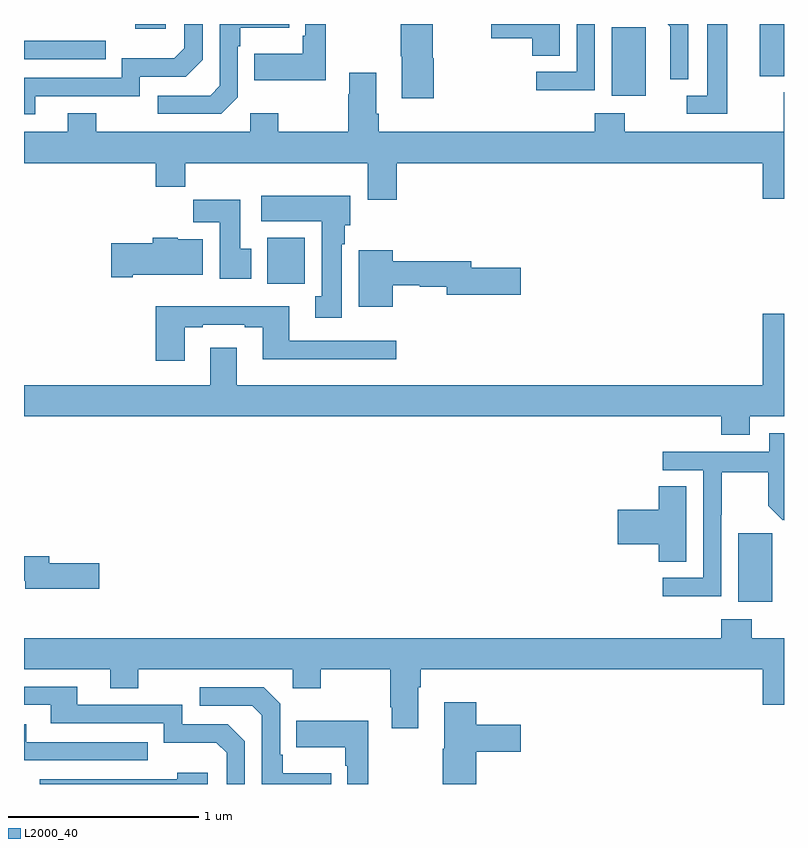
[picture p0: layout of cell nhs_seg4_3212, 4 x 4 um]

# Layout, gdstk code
import gdstk
lib = gdstk.Library(unit=1e-6, precision=1e-09)
def R(c, l, rs):  # rectangles x0, y0, x1, y1
    for r in rs: c.add(gdstk.rectangle(r[:2], r[2:], *l))
def P(c, l, *ps):  # polygons
    for p in ps: c.add(gdstk.Polygon(p, *l))
L2000_40 = (2000, 40)

nhs_seg4_3212 = lib.new_cell('nhs_seg4_3212')
R(nhs_seg4_3212, L2000_40, [(284.759,779.858,284.938,780.219), (282.281,781.532,282.478,781.774), (284.093,782.522,284.272,782.883), (284.873,782.625,285,782.9), (281,782.715,281.429,782.811), (281.585,782.876,281.746,782.9)])
P(nhs_seg4_3212, L2000_40, [(282.126,782.514),(282.126,782.783),(282.139,782.783),(282.139,782.879),(282.395,782.879),(282.395,782.9),(282.03,782.9),(282.03,782.574),(281.979,782.523),(281.703,782.523),(281.703,782.427),(282.039,782.427)],
  [(281.059,782.52),(281.61,782.52),(281.61,782.622),(281.85,782.622),(281.94,782.712),(281.94,782.9),(281.844,782.9),(281.844,782.772),(281.791,782.719),(281.514,782.719),(281.514,782.616),(281,782.616),(281,782.424),(281.059,782.424)],
  [(282.589,782.9),(282.48,782.9),(282.48,782.839),(282.468,782.839),(282.468,782.743),(282.211,782.743),(282.211,782.603),(282.589,782.603)],
  [(284.496,782.9),(284.387,782.9),(284.402,782.885),(284.402,782.762),(284.4,782.762),(284.4,782.608),(284.496,782.608)],
  [(284.004,782.9),(283.908,782.9),(283.908,782.649),(283.695,782.649),(283.695,782.551),(284.004,782.551)],
  [(283.157,782.72),(283.152,782.72),(283.152,782.9),(282.982,782.9),(282.982,782.731),(282.989,782.731),(282.989,782.508),(283.157,782.508)],
  [(283.819,782.9),(283.458,782.9),(283.458,782.825),(283.676,782.825),(283.676,782.734),(283.819,782.734)],
  [(284.701,782.9),(284.597,782.9),(284.597,782.523),(284.487,782.523),(284.487,782.427),(284.701,782.427)],
  [(282.962,782.168),(284.888,782.168),(284.888,781.98),(285,781.98),(285,782.54),(284.999,782.54),(284.999,782.332),(284.163,782.332),(284.163,782.431),(284.003,782.431),(284.003,782.332),(282.866,782.332),(282.866,782.428),(282.853,782.428),(282.853,782.644),(282.713,782.644),(282.713,782.531),(282.706,782.531),(282.706,782.332),(282.339,782.332),(282.339,782.431),(282.192,782.431),(282.192,782.332),(281.379,782.332),(281.379,782.431),(281.231,782.431),(281.231,782.332),(281,782.332),(281,782.168),(281.693,782.168),(281.693,782.044),(281.849,782.044),(281.849,782.168),(282.809,782.168),(282.809,781.974),(282.962,781.974)],
  [(282.673,781.742),(282.688,781.742),(282.688,781.842),(282.718,781.842),(282.718,781.996),(282.249,781.996),(282.249,781.862),(282.566,781.862),(282.566,781.466),(282.533,781.466),(282.533,781.353),(282.673,781.353)],
  [(282.196,781.716),(282.139,781.716),(282.139,781.975),(281.89,781.975),(281.89,781.856),(282.029,781.856),(282.029,781.56),(282.196,781.56)],
  [(281.572,781.58),(281.941,781.58),(281.941,781.768),(281.808,781.768),(281.808,781.774),(281.678,781.774),(281.678,781.746),(281.46,781.746),(281.46,781.568),(281.572,781.568)],
  [(282.94,781.524),(283.083,781.524),(283.083,781.516),(283.226,781.516),(283.226,781.474),(283.615,781.474),(283.615,781.616),(283.354,781.616),(283.354,781.652),(282.94,781.652),(282.94,781.708),(282.761,781.708),(282.761,781.412),(282.94,781.412)],
  [(281.845,781.305),(281.941,781.305),(281.941,781.317),(282.161,781.317),(282.161,781.305),(282.257,781.305),(282.257,781.136),(282.958,781.136),(282.958,781.233),(282.397,781.233),(282.397,781.414),(281.693,781.414),(281.693,781.128),(281.845,781.128)],
  [(284.821,780.836),(285,780.836),(285,781.375),(284.888,781.375),(284.888,781),(282.121,781),(282.121,781.195),(281.981,781.195),(281.981,781),(281,781),(281,780.836),(284.669,780.836),(284.669,780.737),(284.821,780.737)],
  [(284.67,780.316),(284.673,780.316),(284.673,780.54),(284.917,780.54),(284.917,780.365),(284.994,780.288),(284.997,780.291),(285,780.288),(285,780.745),(284.922,780.745),(284.922,780.648),(284.361,780.648),(284.361,780.552),(284.574,780.552),(284.574,779.985),(284.361,779.985),(284.361,779.887),(284.67,779.887)],
  [(284.485,780.467),(284.342,780.467),(284.342,780.344),(284.124,780.344),(284.124,780.161),(284.342,780.161),(284.342,780.07),(284.485,780.07)],
  [(281.395,780.062),(281.134,780.062),(281.134,780.098),(281,780.098),(281,779.97),(281.006,779.97),(281.006,779.927),(281.395,779.927)],
  [(283.075,779.408),(283.088,779.408),(283.088,779.504),(284.888,779.504),(284.888,779.316),(285,779.316),(285,779.668),(284.829,779.668),(284.829,779.767),(284.669,779.767),(284.669,779.668),(281,779.668),(281,779.504),(281.453,779.504),(281.453,779.405),(281.601,779.405),(281.601,779.504),(282.414,779.504),(282.414,779.405),(282.561,779.405),(282.561,779.504),(282.928,779.504),(282.928,779.305),(282.935,779.305),(282.935,779.193),(283.075,779.193)],
  [(282.162,779.124),(282.072,779.214),(281.832,779.214),(281.832,779.316),(281.281,779.316),(281.281,779.412),(281,779.412),(281,779.316),(281.141,779.316),(281.141,779.22),(281.736,779.22),(281.736,779.117),(282.013,779.117),(282.066,779.064),(282.066,778.9),(282.162,778.9)],
  [(282.617,778.957),(282.361,778.957),(282.361,779.053),(282.348,779.053),(282.348,779.322),(282.261,779.409),(281.925,779.409),(281.925,779.313),(282.201,779.313),(282.252,779.262),(282.252,778.9),(282.617,778.9)],
  [(283.379,779.069),(283.615,779.069),(283.615,779.211),(283.379,779.211),(283.379,779.329),(283.211,779.329),(283.211,779.085),(283.204,779.085),(283.204,778.9),(283.379,778.9)],
  [(282.811,779.233),(282.433,779.233),(282.433,779.093),(282.69,779.093),(282.69,778.997),(282.702,778.997),(282.702,778.9),(282.811,778.9)],
  [(281.651,779.121),(281.011,779.121),(281.011,779.215),(281,779.215),(281,779.025),(281.651,779.025)],
  [(281.968,778.96),(281.807,778.96),(281.807,778.926),(281.082,778.926),(281.082,778.9),(281.968,778.9)])

lib.write_gds('nhs_seg4_3212.gds')
